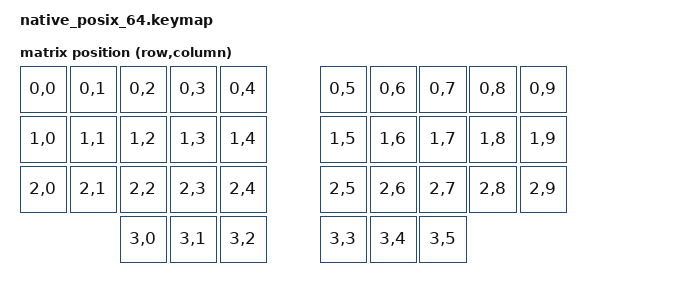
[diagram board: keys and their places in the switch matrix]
#include <dt-bindings/zmk/matrix_transform.h>
#include <dt-bindings/zmk/kscan_mock.h>

/ {
    chosen {
        zmk,matrix-transform = &transform;
    };

    /* op36 position N is RC(N/10, N%10); thumbs 30..35 are row 3. */
    transform: keymap_transform {
        compatible = "zmk,matrix-transform";
        columns = <10>;
        rows = <4>;
        map = <
            RC(0,0) RC(0,1) RC(0,2) RC(0,3) RC(0,4) RC(0,5) RC(0,6) RC(0,7) RC(0,8) RC(0,9)
            RC(1,0) RC(1,1) RC(1,2) RC(1,3) RC(1,4) RC(1,5) RC(1,6) RC(1,7) RC(1,8) RC(1,9)
            RC(2,0) RC(2,1) RC(2,2) RC(2,3) RC(2,4) RC(2,5) RC(2,6) RC(2,7) RC(2,8) RC(2,9)
            RC(3,0) RC(3,1) RC(3,2) RC(3,3) RC(3,4) RC(3,5)
        >;
    };
};

&kscan {
    rows = <4>;
    columns = <10>;
    events = <
        /* lead-in so require-prior-idle-ms sees real idle time */
        ZMK_MOCK_PRESS(0,1,10)
        ZMK_MOCK_RELEASE(0,1,400)

        /* Cmd (N, pos 16) held down throughout, Enter (pos 33) tapped five
           times with shrinking gaps: 300, 150, 80, 50 ms. Both keys are on
           the RIGHT half, so hmr's hold-trigger list refuses the hold and
           forces a tap: pos 16 comes out as a bare 0x0D and the five 0x28
           arrive unmodified. The same rule as cmd-enter-twice, held across
           a repeat rather than pressed once. */
        ZMK_MOCK_PRESS(1,6,60)

        ZMK_MOCK_PRESS(3,3,30)
        ZMK_MOCK_RELEASE(3,3,300)
        ZMK_MOCK_PRESS(3,3,30)
        ZMK_MOCK_RELEASE(3,3,150)
        ZMK_MOCK_PRESS(3,3,30)
        ZMK_MOCK_RELEASE(3,3,80)
        ZMK_MOCK_PRESS(3,3,30)
        ZMK_MOCK_RELEASE(3,3,50)
        ZMK_MOCK_PRESS(3,3,30)
        ZMK_MOCK_RELEASE(3,3,200)

        ZMK_MOCK_RELEASE(1,6,100)
    >;
};

#include "/cfg/op36_ruen.keymap"
